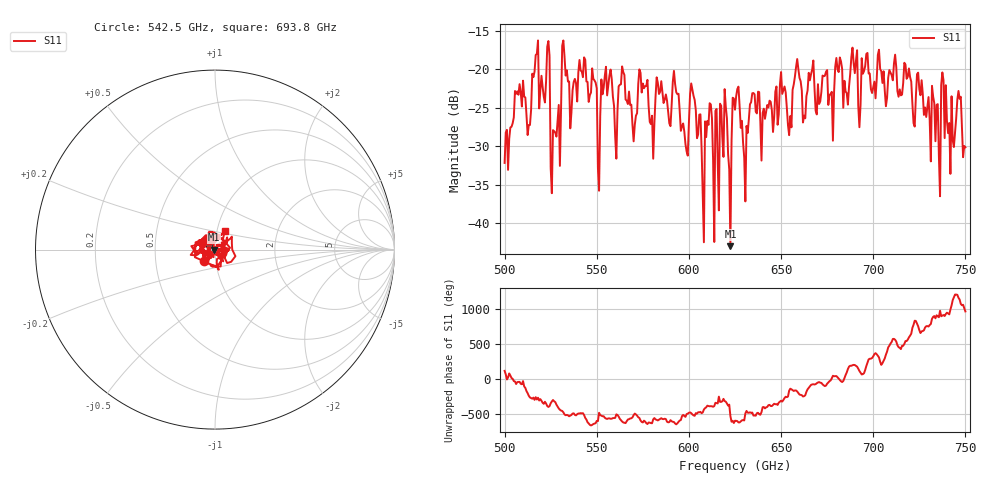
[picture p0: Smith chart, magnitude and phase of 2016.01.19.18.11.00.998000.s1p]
!Created with skrf (http://scikit-rf.org).
# GHz S RI R 50.0
!freq ReS11 ImS11
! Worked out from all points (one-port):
!   401 points, 500 GHz to 750 GHz, reference 50 ohm
!   lowest |S11| = -43.0 dB at 622.5 GHz (marker M1), VSWR 1.01, Z = 49.3 - j0.0758 ohm
!   |S11| at or under -10 dB: start of sweep to end of sweep
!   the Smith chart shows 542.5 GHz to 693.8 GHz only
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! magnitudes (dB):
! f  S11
! 500 GHz  -32.2
! 506.9 GHz  -22.9
! 513.1 GHz  -27.2
! 516.9 GHz  -18.1
! 523.1 GHz  -17.1
! 526.2 GHz  -27.9
! 531.2 GHz  -16.9
! 548.8 GHz  -21.4
! 551.9 GHz  -26.1
! 553.8 GHz  -22.4
! 562.5 GHz  -22.0
! 580 GHz  -26.0
! 593.8 GHz  -23.2
! 598.1 GHz  -29.7
! 601.9 GHz  -22.6
! 608.1 GHz  -42.5
! 611.2 GHz  -24.4
! 622.5 GHz  -43.0
! 625 GHz  -25.2
! 630.6 GHz  -37.2
! 634.4 GHz  -23.1
! 656.2 GHz  -22.7
! 687.5 GHz  -20.6
! 718.8 GHz  -21.0
! 735 GHz  -24.5
! 738.1 GHz  -21.4
! 746.2 GHz  -22.8
! 750 GHz  -30.1
